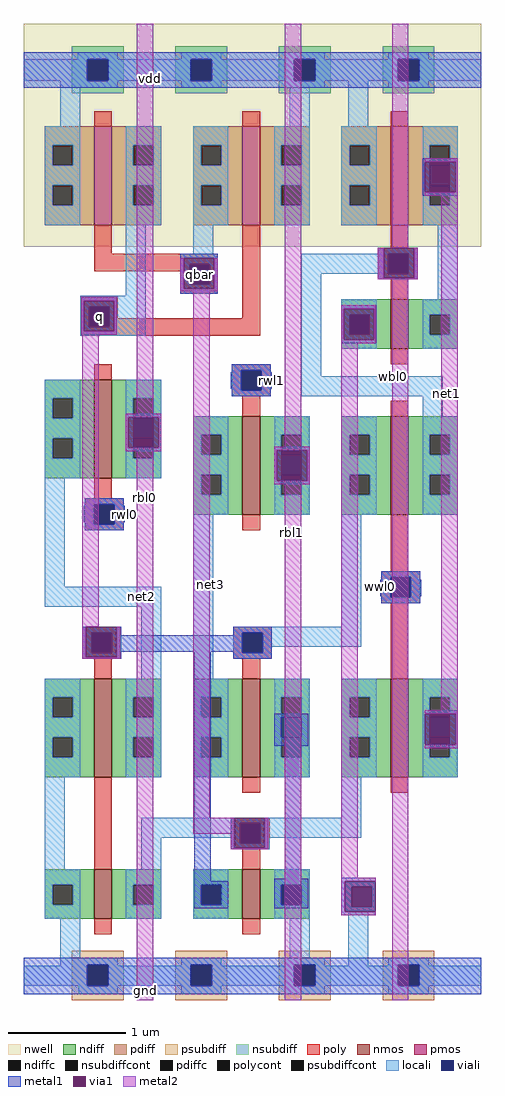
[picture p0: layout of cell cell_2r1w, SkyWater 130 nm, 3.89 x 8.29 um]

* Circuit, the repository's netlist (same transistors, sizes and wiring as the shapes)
* SPICE3 file created from cell_fast.ext - technology: sky130A

.subckt cell_2r1w rbl0 rbl1 wbl0 rwl0 rwl1 wwl0 vdd gnd
X0 rbl1 rwl1 net3 gnd sky130_fd_pr__nfet_01v8 w=0.84 l=0.15
X1 net2 q gnd gnd sky130_fd_pr__nfet_01v8 w=0.84 l=0.15
X2 q q_bar vdd vdd sky130_fd_pr__pfet_01v8 w=0.84 l=0.15
X3 q_bar q gnd gnd sky130_fd_pr__nfet_01v8 w=0.42 l=0.15
X4 rbl0 rwl0 net2 gnd sky130_fd_pr__nfet_01v8 w=0.84 l=0.15
X5 gnd q net3 gnd sky130_fd_pr__nfet_01v8 w=0.84 l=0.15
X6 vdd q q_bar vdd sky130_fd_pr__pfet_01v8 w=0.84 l=0.15
X7 gnd q_bar q gnd sky130_fd_pr__nfet_01v8 w=0.42 l=0.15
X8 net1 wbl0 gnd gnd sky130_fd_pr__nfet_01v8 w=0.42 l=0.15
X9 wbl0 wwl0 q gnd sky130_fd_pr__nfet_01v8 w=0.84 l=0.15
X10 net1 wwl0 q_bar gnd sky130_fd_pr__nfet_01v8 w=0.84 l=0.15
X11 net1 wbl0 vdd vdd sky130_fd_pr__pfet_01v8 w=0.84 l=0.15
.ends

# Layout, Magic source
magic
tech sky130A
<< nwell >>
rect 0 619 389 808
<< nmos >>
rect 312 532 327 574
rect 60 422 75 506
rect 186 391 201 475
rect 312 391 327 475
rect 60 168 75 252
rect 186 168 201 252
rect 312 168 327 252
rect 60 48 75 90
rect 186 48 201 90
<< pmos >>
rect 60 637 75 721
rect 186 637 201 721
rect 312 637 327 721
<< ndiff >>
rect 270 561 312 574
rect 270 544 277 561
rect 294 544 312 561
rect 270 532 312 544
rect 327 561 369 574
rect 327 544 345 561
rect 362 544 369 561
rect 327 532 369 544
rect 18 490 60 506
rect 18 473 25 490
rect 42 473 60 490
rect 18 456 60 473
rect 18 439 25 456
rect 42 439 60 456
rect 18 422 60 439
rect 75 490 117 506
rect 75 473 93 490
rect 110 473 117 490
rect 75 456 117 473
rect 75 439 93 456
rect 110 439 117 456
rect 75 422 117 439
rect 144 459 186 475
rect 144 442 151 459
rect 168 442 186 459
rect 144 425 186 442
rect 144 408 151 425
rect 168 408 186 425
rect 144 391 186 408
rect 201 459 243 475
rect 201 442 219 459
rect 236 442 243 459
rect 201 425 243 442
rect 201 408 219 425
rect 236 408 243 425
rect 201 391 243 408
rect 270 459 312 475
rect 270 442 277 459
rect 294 442 312 459
rect 270 425 312 442
rect 270 408 277 425
rect 294 408 312 425
rect 270 391 312 408
rect 327 459 369 475
rect 327 442 345 459
rect 362 442 369 459
rect 327 425 369 442
rect 327 408 345 425
rect 362 408 369 425
rect 327 391 369 408
rect 18 236 60 252
rect 18 219 25 236
rect 42 219 60 236
rect 18 202 60 219
rect 18 185 25 202
rect 42 185 60 202
rect 18 168 60 185
rect 75 236 117 252
rect 75 219 93 236
rect 110 219 117 236
rect 75 202 117 219
rect 75 185 93 202
rect 110 185 117 202
rect 75 168 117 185
rect 144 236 186 252
rect 144 219 151 236
rect 168 219 186 236
rect 144 202 186 219
rect 144 185 151 202
rect 168 185 186 202
rect 144 168 186 185
rect 201 236 243 252
rect 201 219 219 236
rect 236 219 243 236
rect 201 202 243 219
rect 201 185 219 202
rect 236 185 243 202
rect 201 168 243 185
rect 270 236 312 252
rect 270 219 277 236
rect 294 219 312 236
rect 270 202 312 219
rect 270 185 277 202
rect 294 185 312 202
rect 270 168 312 185
rect 327 236 369 252
rect 327 219 345 236
rect 362 219 369 236
rect 327 202 369 219
rect 327 185 345 202
rect 362 185 369 202
rect 327 168 369 185
rect 18 77 60 90
rect 18 60 25 77
rect 42 60 60 77
rect 18 48 60 60
rect 75 77 117 90
rect 75 60 93 77
rect 110 60 117 77
rect 75 48 117 60
rect 144 77 186 90
rect 144 60 151 77
rect 168 60 186 77
rect 144 48 186 60
rect 201 77 243 90
rect 201 60 219 77
rect 236 60 243 77
rect 201 48 243 60
<< pdiff >>
rect 18 705 60 721
rect 18 688 25 705
rect 42 688 60 705
rect 18 671 60 688
rect 18 654 25 671
rect 42 654 60 671
rect 18 637 60 654
rect 75 705 117 721
rect 75 688 93 705
rect 110 688 117 705
rect 75 671 117 688
rect 75 654 93 671
rect 110 654 117 671
rect 75 637 117 654
rect 144 705 186 721
rect 144 688 151 705
rect 168 688 186 705
rect 144 671 186 688
rect 144 654 151 671
rect 168 654 186 671
rect 144 637 186 654
rect 201 705 243 721
rect 201 688 219 705
rect 236 688 243 705
rect 201 671 243 688
rect 201 654 219 671
rect 236 654 243 671
rect 201 637 243 654
rect 270 705 312 721
rect 270 688 277 705
rect 294 688 312 705
rect 270 671 312 688
rect 270 654 277 671
rect 294 654 312 671
rect 270 637 312 654
rect 327 705 369 721
rect 327 688 345 705
rect 362 688 369 705
rect 327 671 369 688
rect 327 654 345 671
rect 362 654 369 671
rect 327 637 369 654
<< ndiffc >>
rect 277 544 294 561
rect 345 544 362 561
rect 25 473 42 490
rect 25 439 42 456
rect 93 473 110 490
rect 93 439 110 456
rect 151 442 168 459
rect 151 408 168 425
rect 219 442 236 459
rect 219 408 236 425
rect 277 442 294 459
rect 277 408 294 425
rect 345 442 362 459
rect 345 408 362 425
rect 25 219 42 236
rect 25 185 42 202
rect 93 219 110 236
rect 93 185 110 202
rect 151 219 168 236
rect 151 185 168 202
rect 219 219 236 236
rect 219 185 236 202
rect 277 219 294 236
rect 277 185 294 202
rect 345 219 362 236
rect 345 185 362 202
rect 25 60 42 77
rect 93 60 110 77
rect 151 60 168 77
rect 219 60 236 77
<< pdiffc >>
rect 25 688 42 705
rect 25 654 42 671
rect 93 688 110 705
rect 93 654 110 671
rect 151 688 168 705
rect 151 654 168 671
rect 219 688 236 705
rect 219 654 236 671
rect 277 688 294 705
rect 277 654 294 671
rect 345 688 362 705
rect 345 654 362 671
<< psubdiff >>
rect 41 9 85 21
rect 41 -9 54 9
rect 72 -9 85 9
rect 41 -21 85 -9
rect 129 9 173 21
rect 129 -9 142 9
rect 160 -9 173 9
rect 129 -21 173 -9
rect 217 9 261 21
rect 217 -9 230 9
rect 248 -9 261 9
rect 217 -21 261 -9
rect 305 9 349 21
rect 305 -9 318 9
rect 336 -9 349 9
rect 305 -21 349 -9
<< nsubdiff >>
rect 41 778 85 789
rect 41 760 54 778
rect 72 760 85 778
rect 41 749 85 760
rect 129 778 173 789
rect 129 760 142 778
rect 160 760 173 778
rect 129 749 173 760
rect 217 778 261 789
rect 217 760 230 778
rect 248 760 261 778
rect 217 749 261 760
rect 305 778 349 789
rect 305 760 318 778
rect 336 760 349 778
rect 305 749 349 760
<< psubdiffcont >>
rect 54 -9 72 9
rect 142 -9 160 9
rect 230 -9 248 9
rect 318 -9 336 9
<< nsubdiffcont >>
rect 54 760 72 778
rect 142 760 160 778
rect 230 760 248 778
rect 318 760 336 778
<< poly >>
rect 60 721 75 734
rect 186 721 201 734
rect 312 721 327 734
rect 60 613 75 637
rect 60 604 165 613
rect 60 598 141 604
rect 133 587 141 598
rect 158 587 165 604
rect 133 579 165 587
rect 48 568 80 577
rect 48 551 56 568
rect 73 558 80 568
rect 186 558 201 637
rect 312 618 327 637
rect 301 613 335 618
rect 301 596 310 613
rect 327 596 335 613
rect 301 591 335 596
rect 312 574 327 591
rect 73 551 201 558
rect 48 543 201 551
rect 312 519 327 532
rect 60 506 75 519
rect 177 514 210 519
rect 177 497 185 514
rect 202 497 210 514
rect 177 492 210 497
rect 186 475 201 492
rect 312 475 327 488
rect 60 405 75 422
rect 52 400 85 405
rect 52 383 60 400
rect 77 383 85 400
rect 52 378 85 383
rect 186 378 201 391
rect 312 343 327 391
rect 304 338 337 343
rect 304 321 312 338
rect 329 321 337 338
rect 304 316 337 321
rect 50 291 83 296
rect 50 274 58 291
rect 75 274 83 291
rect 50 269 83 274
rect 178 291 211 296
rect 178 274 186 291
rect 203 274 211 291
rect 178 269 211 274
rect 60 252 75 269
rect 186 252 201 269
rect 312 252 327 316
rect 60 90 75 168
rect 186 155 201 168
rect 312 155 327 168
rect 176 129 209 134
rect 176 112 184 129
rect 201 112 209 129
rect 176 107 209 112
rect 186 90 201 107
rect 60 35 75 48
rect 186 35 201 48
<< polycont >>
rect 141 587 158 604
rect 56 551 73 568
rect 310 596 327 613
rect 185 497 202 514
rect 60 383 77 400
rect 312 321 329 338
rect 58 274 75 291
rect 186 274 203 291
rect 184 112 201 129
<< locali >>
rect 46 778 80 784
rect 134 778 168 784
rect 222 778 256 784
rect 310 778 344 784
rect 0 760 54 778
rect 72 760 142 778
rect 160 760 230 778
rect 248 760 318 778
rect 336 760 389 778
rect 31 754 80 760
rect 134 754 168 760
rect 222 754 256 760
rect 31 721 48 754
rect 226 721 243 754
rect 276 721 293 760
rect 310 754 344 760
rect 18 705 48 721
rect 18 688 25 705
rect 42 688 48 705
rect 18 671 48 688
rect 18 654 25 671
rect 42 654 48 671
rect 18 637 48 654
rect 87 705 117 721
rect 87 688 93 705
rect 110 688 117 705
rect 87 671 117 688
rect 87 654 93 671
rect 110 654 117 671
rect 87 637 117 654
rect 144 705 174 721
rect 144 688 151 705
rect 168 688 174 705
rect 144 671 174 688
rect 144 654 151 671
rect 168 654 174 671
rect 144 637 174 654
rect 213 705 243 721
rect 213 688 219 705
rect 236 688 243 705
rect 213 671 243 688
rect 213 654 219 671
rect 236 654 243 671
rect 213 637 243 654
rect 270 705 300 721
rect 270 688 277 705
rect 294 688 300 705
rect 270 671 300 688
rect 270 654 277 671
rect 294 654 300 671
rect 270 637 300 654
rect 339 705 369 721
rect 339 654 345 705
rect 362 654 369 705
rect 339 637 369 654
rect 87 577 104 637
rect 144 613 161 637
rect 301 613 335 618
rect 133 604 165 613
rect 133 587 141 604
rect 158 587 165 604
rect 133 579 165 587
rect 236 596 310 613
rect 327 596 335 613
rect 48 568 104 577
rect 48 551 56 568
rect 73 551 104 568
rect 48 543 104 551
rect 177 514 210 519
rect 18 490 48 506
rect 18 473 25 490
rect 42 473 48 490
rect 18 456 48 473
rect 18 439 25 456
rect 42 439 48 456
rect 18 422 48 439
rect 87 490 117 506
rect 177 497 185 514
rect 202 497 210 514
rect 177 492 210 497
rect 236 509 253 596
rect 301 591 335 596
rect 352 574 369 637
rect 270 561 300 574
rect 270 544 277 561
rect 294 544 300 561
rect 270 532 300 544
rect 339 561 369 574
rect 339 544 345 561
rect 362 544 369 561
rect 339 532 369 544
rect 236 492 356 509
rect 87 439 93 490
rect 110 439 117 490
rect 339 475 356 492
rect 87 422 117 439
rect 144 459 174 475
rect 144 442 151 459
rect 168 442 174 459
rect 144 425 174 442
rect 18 330 35 422
rect 144 408 151 425
rect 168 408 174 425
rect 52 400 85 405
rect 52 383 60 400
rect 77 383 85 400
rect 52 378 85 383
rect 144 391 174 408
rect 213 459 243 475
rect 213 408 219 459
rect 236 408 243 459
rect 213 391 243 408
rect 270 459 300 475
rect 270 442 277 459
rect 294 442 300 459
rect 270 425 300 442
rect 270 408 277 425
rect 294 408 300 425
rect 270 391 300 408
rect 339 459 369 475
rect 339 442 345 459
rect 362 442 369 459
rect 339 425 369 442
rect 339 408 345 425
rect 362 408 369 425
rect 339 391 369 408
rect 18 313 117 330
rect 50 291 83 296
rect 50 274 58 291
rect 75 274 83 291
rect 50 269 83 274
rect 100 252 117 313
rect 18 236 48 252
rect 18 219 25 236
rect 42 219 48 236
rect 18 202 48 219
rect 18 185 25 202
rect 42 185 48 202
rect 18 168 48 185
rect 87 236 117 252
rect 87 219 93 236
rect 110 219 117 236
rect 87 202 117 219
rect 87 185 93 202
rect 110 185 117 202
rect 87 168 117 185
rect 144 252 161 391
rect 270 296 287 391
rect 304 338 337 343
rect 304 321 312 338
rect 329 321 337 338
rect 304 316 337 321
rect 178 291 287 296
rect 178 274 186 291
rect 203 279 287 291
rect 203 274 211 279
rect 178 269 211 274
rect 144 236 174 252
rect 144 219 151 236
rect 168 219 174 236
rect 144 202 174 219
rect 144 185 151 202
rect 168 185 174 202
rect 144 168 174 185
rect 213 236 243 252
rect 213 185 219 236
rect 236 185 243 236
rect 213 168 243 185
rect 270 236 300 252
rect 270 219 277 236
rect 294 219 300 236
rect 270 202 300 219
rect 270 185 277 202
rect 294 185 300 202
rect 270 168 300 185
rect 339 236 369 252
rect 339 185 345 236
rect 362 185 369 236
rect 339 168 369 185
rect 18 90 35 168
rect 270 134 287 168
rect 100 129 287 134
rect 100 117 184 129
rect 100 90 117 117
rect 176 112 184 117
rect 201 117 287 129
rect 201 112 209 117
rect 176 107 209 112
rect 18 77 48 90
rect 18 60 25 77
rect 42 60 48 77
rect 18 48 48 60
rect 87 77 117 90
rect 87 60 93 77
rect 110 60 117 77
rect 87 48 117 60
rect 144 77 174 90
rect 144 60 151 77
rect 168 60 174 77
rect 144 48 174 60
rect 213 77 243 90
rect 213 60 219 77
rect 236 60 243 77
rect 213 48 243 60
rect 273 75 299 80
rect 273 58 279 75
rect 296 58 299 75
rect 273 54 299 58
rect 31 15 48 48
rect 226 15 243 48
rect 31 9 80 15
rect 31 8 54 9
rect 0 -9 54 8
rect 72 8 80 9
rect 134 9 168 15
rect 134 8 142 9
rect 72 -9 142 8
rect 160 8 168 9
rect 222 9 256 15
rect 222 8 230 9
rect 160 -9 230 8
rect 248 8 256 9
rect 276 8 293 54
rect 310 9 344 15
rect 310 8 318 9
rect 248 -9 318 8
rect 336 8 344 9
rect 336 -9 389 8
rect 47 -16 80 -9
rect 134 -16 168 -9
rect 222 -16 256 -9
rect 310 -16 344 -9
<< viali >>
rect 54 760 72 778
rect 142 760 160 778
rect 230 760 248 778
rect 318 760 336 778
rect 345 671 362 688
rect 141 587 158 604
rect 310 596 327 613
rect 56 551 73 568
rect 185 497 202 514
rect 277 544 294 561
rect 93 456 110 473
rect 60 383 77 400
rect 219 425 236 442
rect 58 274 75 291
rect 312 321 329 338
rect 186 274 203 291
rect 219 202 236 219
rect 345 202 362 219
rect 184 112 201 129
rect 151 60 168 77
rect 219 60 236 77
rect 279 58 296 75
rect 54 -9 72 9
rect 142 -9 160 9
rect 230 -9 248 9
rect 318 -9 336 9
<< metal1 >>
rect 0 778 389 784
rect 0 760 54 778
rect 72 760 142 778
rect 160 760 230 778
rect 248 760 318 778
rect 336 760 389 778
rect 0 754 389 760
rect 339 691 369 694
rect 339 665 341 691
rect 367 665 369 691
rect 339 662 369 665
rect 133 609 165 613
rect 133 583 136 609
rect 162 583 165 609
rect 301 592 306 618
rect 332 592 335 618
rect 301 591 335 592
rect 133 579 165 583
rect 49 573 79 576
rect 49 547 51 573
rect 77 547 79 573
rect 49 544 79 547
rect 270 566 299 569
rect 270 540 272 566
rect 298 540 299 566
rect 270 537 299 540
rect 177 514 210 519
rect 177 512 185 514
rect 176 498 185 512
rect 177 497 185 498
rect 202 512 210 514
rect 202 498 211 512
rect 202 497 210 498
rect 177 492 210 497
rect 87 474 117 477
rect 87 448 89 474
rect 115 448 117 474
rect 87 445 117 448
rect 213 446 243 449
rect 213 420 215 446
rect 241 420 243 446
rect 213 417 243 420
rect 52 400 85 405
rect 52 399 60 400
rect 51 385 60 399
rect 52 383 60 385
rect 77 399 85 400
rect 77 385 86 399
rect 77 383 85 385
rect 52 378 85 383
rect 304 338 337 343
rect 304 336 312 338
rect 303 322 312 336
rect 304 321 312 322
rect 329 336 337 338
rect 329 322 338 336
rect 329 321 337 322
rect 304 316 337 321
rect 50 270 53 296
rect 79 289 83 296
rect 178 291 211 296
rect 178 289 186 291
rect 79 275 186 289
rect 79 270 83 275
rect 50 269 83 270
rect 145 80 159 275
rect 178 274 186 275
rect 203 274 211 291
rect 178 269 211 274
rect 341 222 369 225
rect 213 219 242 222
rect 213 202 219 219
rect 236 202 242 219
rect 213 195 242 202
rect 367 196 369 222
rect 176 108 179 134
rect 205 108 208 134
rect 176 107 208 108
rect 222 82 236 195
rect 341 193 369 196
rect 145 77 174 80
rect 145 60 151 77
rect 168 60 174 77
rect 145 57 174 60
rect 213 77 242 82
rect 213 60 219 77
rect 236 60 242 77
rect 213 57 242 60
rect 270 80 299 83
rect 270 54 273 80
rect 270 51 299 54
rect 0 9 389 15
rect 0 -9 54 9
rect 72 -9 142 9
rect 160 -9 230 9
rect 248 -9 318 9
rect 336 -9 389 9
rect 0 -16 389 -9
<< via1 >>
rect 341 688 367 691
rect 341 671 345 688
rect 345 671 362 688
rect 362 671 367 688
rect 341 665 367 671
rect 136 604 162 609
rect 136 587 141 604
rect 141 587 158 604
rect 158 587 162 604
rect 136 583 162 587
rect 306 613 332 618
rect 306 596 310 613
rect 310 596 327 613
rect 327 596 332 613
rect 306 592 332 596
rect 51 568 77 573
rect 51 551 56 568
rect 56 551 73 568
rect 73 551 77 568
rect 51 547 77 551
rect 272 561 298 566
rect 272 544 277 561
rect 277 544 294 561
rect 294 544 298 561
rect 272 540 298 544
rect 89 473 115 474
rect 89 456 93 473
rect 93 456 110 473
rect 110 456 115 473
rect 89 448 115 456
rect 215 442 241 446
rect 215 425 219 442
rect 219 425 236 442
rect 236 425 241 442
rect 215 420 241 425
rect 53 291 79 296
rect 53 274 58 291
rect 58 274 75 291
rect 75 274 79 291
rect 53 270 79 274
rect 341 219 367 222
rect 341 202 345 219
rect 345 202 362 219
rect 362 202 367 219
rect 341 196 367 202
rect 179 129 205 134
rect 179 112 184 129
rect 184 112 201 129
rect 201 112 205 129
rect 179 108 205 112
rect 273 75 299 80
rect 273 58 279 75
rect 279 58 296 75
rect 296 58 299 75
rect 273 54 299 58
<< metal2 >>
rect 49 573 79 576
rect 49 547 51 573
rect 77 547 79 573
rect 49 544 79 547
rect 50 296 64 544
rect 96 477 110 808
rect 133 583 136 609
rect 162 583 165 609
rect 133 581 165 583
rect 87 474 117 477
rect 87 448 89 474
rect 115 448 117 474
rect 87 445 117 448
rect 50 270 53 296
rect 79 270 82 296
rect 50 269 82 270
rect 96 -21 110 445
rect 144 134 158 581
rect 222 449 236 808
rect 313 618 327 808
rect 341 691 369 694
rect 367 665 369 691
rect 341 662 369 665
rect 301 592 306 618
rect 332 592 335 618
rect 301 591 335 592
rect 270 566 299 569
rect 270 540 272 566
rect 298 540 299 566
rect 270 537 299 540
rect 213 446 243 449
rect 213 420 215 446
rect 241 420 243 446
rect 213 417 243 420
rect 144 120 179 134
rect 176 108 179 120
rect 205 108 208 134
rect 176 107 208 108
rect 222 -21 236 417
rect 270 83 284 537
rect 270 80 299 83
rect 270 54 273 80
rect 270 51 299 54
rect 313 -21 327 591
rect 355 225 369 662
rect 341 222 369 225
rect 367 196 369 222
rect 341 193 369 196
<< labels >>
flabel metal1 104 -13 104 -13 0 FreeSans 120 0 0 0 gnd
port 1 nsew
flabel metal2 141 587 158 604 0 FreeSans 80 0 0 0 qbar
flabel metal2 359 494 359 494 0 FreeSans 80 0 0 0 net1
flabel locali 100 322 100 322 0 FreeSans 80 0 0 0 net2
flabel locali 159 332 159 332 0 FreeSans 80 0 0 0 net3
flabel metal2 56 551 73 568 0 FreeSans 80 0 0 0 q
flabel metal2 103 406 103 406 0 FreeSans 80 0 0 0 rbl0
port 11 nsew
flabel metal2 228 376 228 376 0 FreeSans 80 0 0 0 rbl1
port 12 nsew
flabel metal2 314 509 314 509 0 FreeSans 80 0 0 0 wbl0
port 13 nsew
flabel metal1 303 330 303 330 0 FreeSans 80 0 0 0 wwl0
port 14 nsew
flabel metal1 211 505 211 505 0 FreeSans 80 0 0 0 rwl1
port 15 nsew
flabel metal1 86 391 86 391 0 FreeSans 80 0 0 0 rwl0
port 16 nsew
flabel metal1 108 762 108 762 0 FreeSans 120 0 0 0 vdd
port 0 nsew
<< properties >>
string FIXED_BBOX 0 0 389 769
<< end >>
